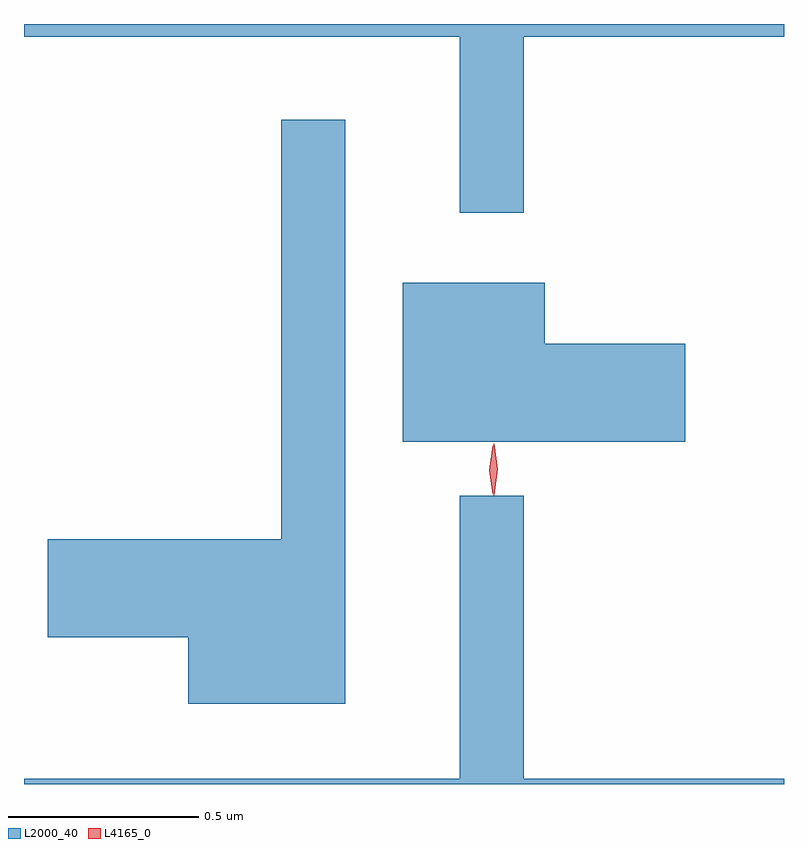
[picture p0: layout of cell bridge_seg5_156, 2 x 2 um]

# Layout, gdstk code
import gdstk
lib = gdstk.Library(unit=1e-6, precision=1e-09)
def P(c, l, *ps):  # polygons
    for p in ps: c.add(gdstk.Polygon(p, *l))
L2000_40 = (2000, 40)
L4165_0 = (4165, 0)

bridge_seg5_156 = lib.new_cell('bridge_seg5_156')
P(bridge_seg5_156, L2000_40, [(1089.749,1436.816),(1090.434,1436.816),(1090.434,1436.85),(1088.434,1436.85),(1088.434,1436.816),(1089.581,1436.816),(1089.581,1436.353),(1089.749,1436.353)],
  [(1089.279,1436.598),(1089.111,1436.598),(1089.111,1435.494),(1088.496,1435.494),(1088.496,1435.236),(1088.866,1435.236),(1088.866,1435.061),(1089.279,1435.061)],
  [(1090.174,1436.009),(1089.804,1436.009),(1089.804,1436.169),(1089.431,1436.169),(1089.431,1435.751),(1090.174,1435.751)],
  [(1090.434,1434.864),(1089.749,1434.864),(1089.749,1435.608),(1089.581,1435.608),(1089.581,1434.864),(1088.434,1434.864),(1088.434,1434.85),(1090.434,1434.85)])
P(bridge_seg5_156, L4165_0, [(1089.67,1435.61),(1089.661,1435.678),(1089.67,1435.745),(1089.671,1435.746),(1089.671,1435.745),(1089.681,1435.678),(1089.671,1435.61),(1089.671,1435.61)],
  [(1089.668,1435.613),(1089.668,1435.613),(1089.658,1435.676),(1089.668,1435.74),(1089.668,1435.74),(1089.668,1435.74),(1089.678,1435.676),(1089.668,1435.613)])

lib.write_gds('bridge_seg5_156.gds')
